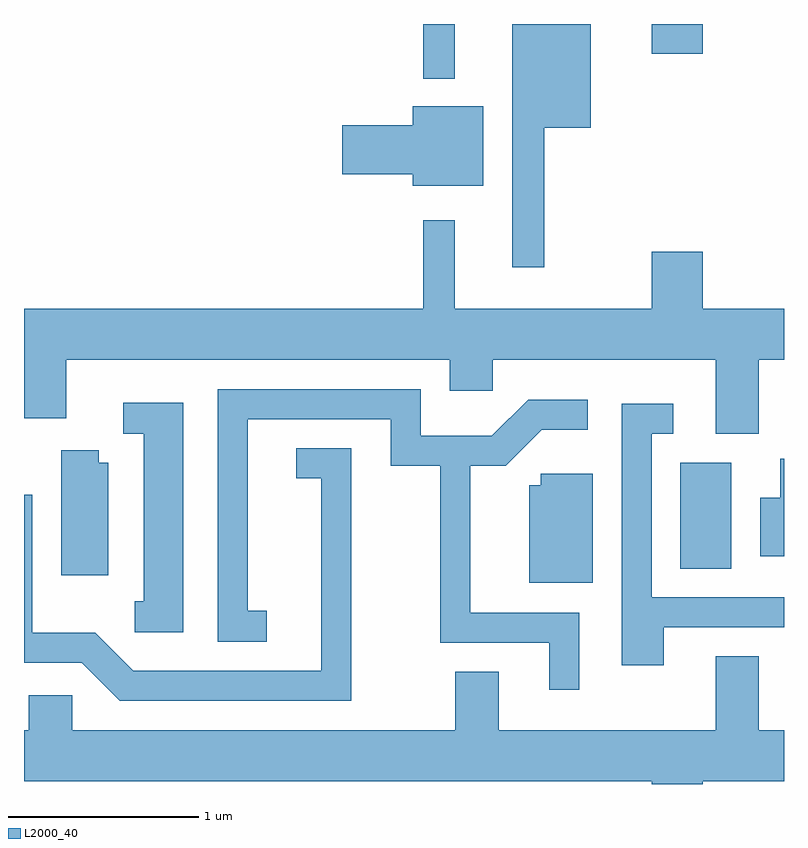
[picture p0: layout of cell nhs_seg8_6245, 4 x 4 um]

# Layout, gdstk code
import gdstk
lib = gdstk.Library(unit=1e-6, precision=1e-09)
def R(c, l, rs):  # rectangles x0, y0, x1, y1
    for r in rs: c.add(gdstk.rectangle(r[:2], r[2:], *l))
def P(c, l, *ps):  # polygons
    for p in ps: c.add(gdstk.Polygon(p, *l))
L2000_40 = (2000, 40)

nhs_seg8_6245 = lib.new_cell('nhs_seg8_6245')
R(nhs_seg8_6245, L2000_40, [(375.066,1897.476,375.334,1898.034), (373.711,1900.053,373.879,1900.342), (374.916,1900.186,375.184,1900.342)])
P(nhs_seg8_6245, L2000_40, [(374.349,1899.796),(374.594,1899.796),(374.594,1900.342),(374.181,1900.342),(374.181,1899.063),(374.349,1899.063)],
  [(374.029,1899.909),(373.656,1899.909),(373.656,1899.809),(373.286,1899.809),(373.286,1899.551),(373.656,1899.551),(373.656,1899.491),(374.029,1899.491)],
  [(375.479,1898.576),(375.611,1898.576),(375.611,1898.844),(375.184,1898.844),(375.184,1899.144),(374.916,1899.144),(374.916,1898.844),(373.879,1898.844),(373.879,1899.308),(373.711,1899.308),(373.711,1898.844),(371.611,1898.844),(371.611,1898.266),(371.834,1898.266),(371.834,1898.576),(373.851,1898.576),(373.851,1898.411),(374.079,1898.411),(374.079,1898.576),(375.251,1898.576),(375.251,1898.186),(375.479,1898.186)],
  [(374.534,1897.244),(373.959,1897.244),(373.959,1898.016),(374.147,1898.016),(374.337,1898.206),(374.578,1898.206),(374.578,1898.364),(374.264,1898.364),(374.074,1898.174),(373.699,1898.174),(373.699,1898.419),(372.631,1898.419),(372.631,1897.091),(372.888,1897.091),(372.888,1897.254),(372.789,1897.254),(372.789,1898.261),(373.541,1898.261),(373.541,1898.016),(373.801,1898.016),(373.801,1897.086),(374.376,1897.086),(374.376,1896.838),(374.534,1896.838)],
  [(372.449,1898.349),(372.133,1898.349),(372.133,1898.186),(372.241,1898.186),(372.241,1897.304),(372.193,1897.304),(372.193,1897.141),(372.449,1897.141)],
  [(374.979,1897.166),(375.611,1897.166),(375.611,1897.324),(374.914,1897.324),(374.914,1898.186),(375.028,1898.186),(375.028,1898.344),(374.756,1898.344),(374.756,1896.966),(374.979,1896.966)],
  [(373.334,1898.109),(373.043,1898.109),(373.043,1897.951),(373.176,1897.951),(373.176,1896.939),(372.187,1896.939),(371.987,1897.139),(371.654,1897.139),(371.654,1897.864),(371.611,1897.864),(371.611,1896.981),(371.914,1896.981),(372.114,1896.781),(373.334,1896.781)],
  [(372.054,1898.034),(372.004,1898.034),(372.004,1898.099),(371.806,1898.099),(371.806,1897.441),(372.054,1897.441)],
  [(375.611,1898.054),(375.591,1898.054),(375.591,1897.849),(375.486,1897.849),(375.486,1897.541),(375.611,1897.541)],
  [(374.604,1897.974),(374.331,1897.974),(374.331,1897.914),(374.271,1897.914),(374.271,1897.401),(374.604,1897.401)],
  [(375.184,1896.356),(375.611,1896.356),(375.611,1896.624),(375.479,1896.624),(375.479,1897.014),(375.251,1897.014),(375.251,1896.624),(374.109,1896.624),(374.109,1896.934),(373.881,1896.934),(373.881,1896.624),(371.864,1896.624),(371.864,1896.809),(371.636,1896.809),(371.636,1896.624),(371.611,1896.624),(371.611,1896.356),(374.916,1896.356),(374.916,1896.342),(375.184,1896.342)])

lib.write_gds('nhs_seg8_6245.gds')
